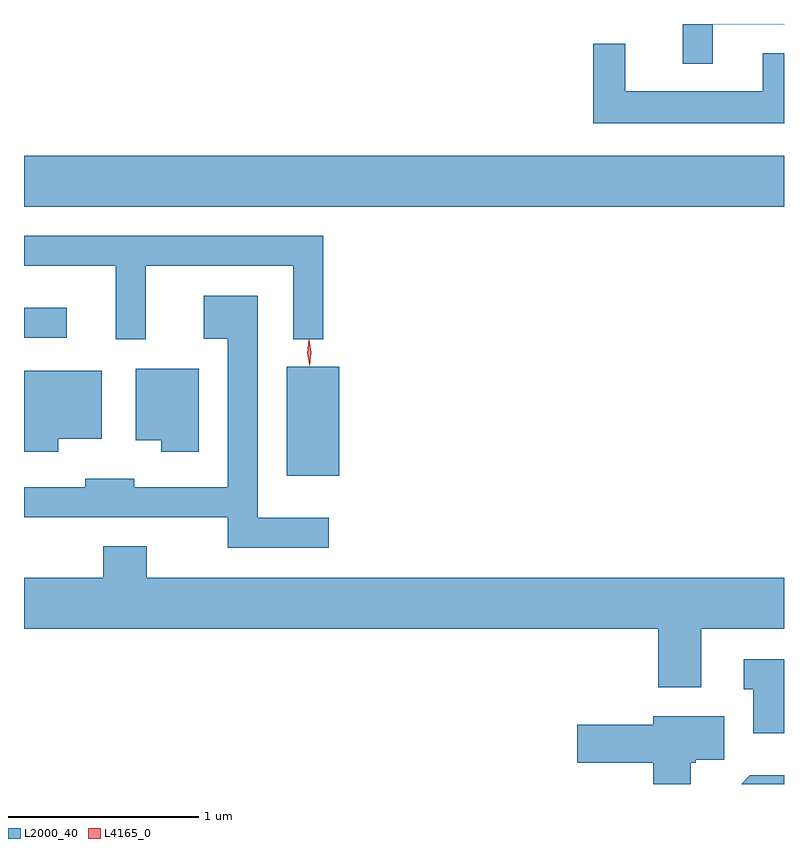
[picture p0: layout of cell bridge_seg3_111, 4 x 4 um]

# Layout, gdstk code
import gdstk
lib = gdstk.Library(unit=1e-6, precision=1e-09)
def R(c, l, rs):  # rectangles x0, y0, x1, y1
    for r in rs: c.add(gdstk.rectangle(r[:2], r[2:], *l))
def P(c, l, *ps):  # polygons
    for p in ps: c.add(gdstk.Polygon(p, *l))
L2000_40 = (2000, 40)
L4165_0 = (4165, 0)

bridge_seg3_111 = lib.new_cell('bridge_seg3_111')
R(bridge_seg3_111, L2000_40, [(1081.016,1193.421,1081.294,1193.994), (1079.634,1194.146,1079.858,1194.304), (1079.634,1194.836,1083.634,1195.104)])
P(bridge_seg3_111, L2000_40, [(1083.259,1195.796),(1083.634,1195.796),(1083.634,1195.798),(1083.101,1195.798),(1083.101,1195.588),(1083.259,1195.588)],
  [(1083.634,1195.644),(1083.521,1195.644),(1083.521,1195.444),(1082.799,1195.444),(1082.799,1195.693),(1082.631,1195.693),(1082.631,1195.276),(1083.634,1195.276)],
  [(1080.274,1194.526),(1081.051,1194.526),(1081.051,1194.138),(1081.209,1194.138),(1081.209,1194.684),(1079.634,1194.684),(1079.634,1194.526),(1080.116,1194.526),(1080.116,1194.138),(1080.274,1194.138)],
  [(1081.238,1193.199),(1080.864,1193.199),(1080.864,1194.369),(1080.581,1194.369),(1080.581,1194.141),(1080.706,1194.141),(1080.706,1193.359),(1080.214,1193.359),(1080.214,1193.404),(1079.956,1193.404),(1079.956,1193.359),(1079.634,1193.359),(1079.634,1193.201),(1080.706,1193.201),(1080.706,1193.041),(1081.238,1193.041)],
  [(1080.554,1193.984),(1080.221,1193.984),(1080.221,1193.606),(1080.356,1193.606),(1080.356,1193.546),(1080.554,1193.546)],
  [(1079.814,1193.616),(1080.044,1193.616),(1080.044,1193.974),(1079.634,1193.974),(1079.634,1193.546),(1079.814,1193.546)],
  [(1083.199,1192.616),(1083.634,1192.616),(1083.634,1192.884),(1080.279,1192.884),(1080.279,1193.049),(1080.051,1193.049),(1080.051,1192.884),(1079.634,1192.884),(1079.634,1192.616),(1082.971,1192.616),(1082.971,1192.306),(1083.199,1192.306)],
  [(1083.634,1192.454),(1083.423,1192.454),(1083.423,1192.296),(1083.471,1192.296),(1083.471,1192.066),(1083.634,1192.066)],
  [(1083.144,1191.911),(1083.17,1191.911),(1083.17,1191.926),(1083.319,1191.926),(1083.319,1192.154),(1082.946,1192.154),(1082.946,1192.109),(1082.546,1192.109),(1082.546,1191.911),(1082.946,1191.911),(1082.946,1191.798),(1083.144,1191.798)],
  [(1083.634,1191.844),(1083.454,1191.844),(1083.408,1191.798),(1083.634,1191.798)])
P(bridge_seg3_111, L4165_0, [(1081.138,1193.998),(1081.138,1193.998),(1081.126,1194.066),(1081.133,1194.135),(1081.134,1194.136),(1081.134,1194.135),(1081.146,1194.067),(1081.139,1193.998)],
  [(1081.138,1194),(1081.138,1194.001),(1081.126,1194.066),(1081.133,1194.132),(1081.134,1194.132),(1081.134,1194.132),(1081.146,1194.067),(1081.139,1194.001)])

lib.write_gds('bridge_seg3_111.gds')
